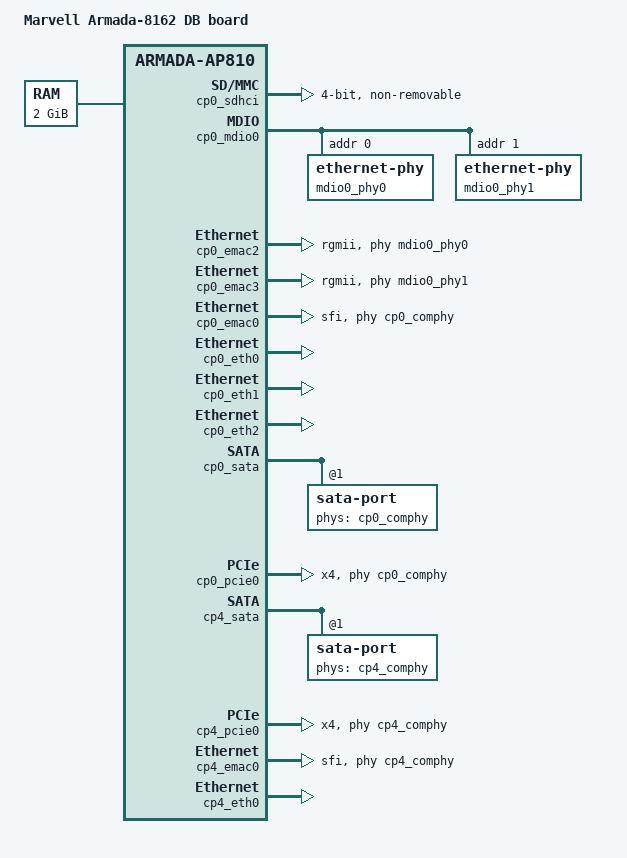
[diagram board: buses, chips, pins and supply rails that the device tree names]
/*
 * Copyright (C) 2017 Marvell Technology Group Ltd.
 *
 * This file is dual-licensed: you can use it either under the terms
 * of the GPLv2 or the X11 license, at your option. Note that this dual
 * licensing only applies to this file, and not this project as a
 * whole.
 *
 *  a) This library is free software; you can redistribute it and/or
 *     modify it under the terms of the GNU General Public License as
 *     published by the Free Software Foundation; either version 2 of the
 *     License, or (at your option) any later version.
 *
 *     This library is distributed in the hope that it will be useful,
 *     but WITHOUT ANY WARRANTY; without even the implied warranty of
 *     MERCHANTABILITY or FITNESS FOR A PARTICULAR PURPOSE.  See the
 *     GNU General Public License for more details.
 *
 * Or, alternatively,
 *
 *  b) Permission is hereby granted, free of charge, to any person
 *     obtaining a copy of this software and associated documentation
 *     files (the "Software"), to deal in the Software without
 *     restriction, including without limitation the rights to use,
 *     copy, modify, merge, publish, distribute, sublicense, and/or
 *     sell copies of the Software, and to permit persons to whom the
 *     Software is furnished to do so, subject to the following
 *     conditions:
 *
 *     The above copyright notice and this permission notice shall be
 *     included in all copies or substantial portions of the Software.
 *
 *     THE SOFTWARE IS PROVIDED "AS IS", WITHOUT WARRANTY OF ANY KIND,
 *     EXPRESS OR IMPLIED, INCLUDING BUT NOT LIMITED TO THE WARRANTIES
 *     OF MERCHANTABILITY, FITNESS FOR A PARTICULAR PURPOSE AND
 *     NONINFRINGEMENT. IN NO EVENT SHALL THE AUTHORS OR COPYRIGHT
 *     HOLDERS BE LIABLE FOR ANY CLAIM, DAMAGES OR OTHER LIABILITY,
 *     WHETHER IN AN ACTION OF CONTRACT, TORT OR OTHERWISE, ARISING
 *     FROM, OUT OF OR IN CONNECTION WITH THE SOFTWARE OR THE USE OR
 *     OTHER DEALINGS IN THE SOFTWARE.
 */

/*
 * Device Tree file for Marvell Armada-8162 Development board platform
 */

#include "armada-8162-db.dtsi"

/ {
	model = "Marvell Armada-8162 DB board";
	compatible = "marvell,armada-8162-db", "marvell,armada-8162",
		     "marvell,armada-ap810-octa", "marvell,armada-ap810";

	chosen {
		stdout-path = "serial0:115200n8";
	};

	reserved-memory {
		#address-cells = <2>;
		#size-cells = <2>;
		ranges;

		/* global autoconfigured region for contiguous allocations */
		ap1_mem: ap1-area@41f0000000 {
			compatible = "shared-dma-pool";
			reusable;
			reg = <0x41 0xf0000000 0 0x10000000>;
		};
	};
	aliases {
		ethernet0 = &cp0_emac0;
		ethernet1 = &cp0_emac2;
		ethernet2 = &cp0_emac3;
		ethernet3 = &cp4_emac0;
	};

	memory@00000000 {
		device_type = "memory";
		reg = <0x0 0x0 0x0 0x80000000>;
	};
};

&ap0_xor0 {
	status = "disabled";
};

&ap1_xor0 {
	status = "disabled";
};

&cp0_sdhci {
	status = "okay";
	bus-width = <4>;
	no-1-8-v;
	non-removable;
};

&cp0_mdio0 {
	status = "okay";
	mdio0_phy0: ethernet-phy@0 {
		reg = <0>;
	};
	mdio0_phy1: ethernet-phy@1 {
		reg = <1>;
	};
};

&cp0_emac2 {
	phy-mode = "rgmii"; /* rgmii-0 */
	phy = <&mdio0_phy0>;
};

&cp0_emac3 {
	phy-mode = "rgmii"; /* rgmii-1 */
	phy = <&mdio0_phy1>;
};

&cp0_emac0 {
	phy-mode = "sfi";

	/* Generic PHY, providing serdes lanes */
	phys = <&cp0_comphy 4 COMPHY_SFI>;
	phy-names = "comphy";
};

&cp0_ppv22 {
	l4_chksum_jumbo_port = <0>;
	pinctrl-names = "default";
};

&cp0_eth0 {
	status = "okay";
};

&cp0_eth1 {
	status = "okay";
};

&cp0_eth2 {
	status = "okay";
};

&cp0_sata {
	status = "okay";
	sata-port@1 {
		reg = <1>;
		status = "okay";

		/* Generic PHY, providing serdes lanes */
		phys = <&cp0_comphy 5 COMPHY_SATA1>;
		phy-names = "comphy";
	};
};

&cp0_pcie0 {
	num-lanes = <4>;
	status = "okay";

	/* Generic PHY, providing serdes lanes */
	phys = <&cp0_comphy 0 COMPHY_PCIE0
		&cp0_comphy 1 COMPHY_PCIE0
		&cp0_comphy 2 COMPHY_PCIE0
		&cp0_comphy 3 COMPHY_PCIE0
		>;
	phy-names = "pcie-phy0", "pcie-phy1", "pcie-phy2", "pcie-phy3";
};

&cp4_sata {
	status = "okay";
	sata-port@1 {
		reg = <1>;
		status = "okay";

		/* Generic PHY, providing serdes lanes */
		phys = <&cp4_comphy 5 COMPHY_SATA1>;
		phy-names = "comphy";
	};
};

&cp4_pcie0 {
	num-lanes = <4>;
	status = "okay";

	/* Generic PHY, providing serdes lanes */
	phys = <&cp4_comphy 0 COMPHY_PCIE0
		&cp4_comphy 1 COMPHY_PCIE0
		&cp4_comphy 2 COMPHY_PCIE0
		&cp4_comphy 3 COMPHY_PCIE0
		>;
	phy-names = "pcie-phy0", "pcie-phy1", "pcie-phy2", "pcie-phy3";
};

&cp4_emac0 {
	phy-mode = "sfi"; /* lane-2 */

	/* Generic PHY, providing serdes lanes */
	phys = <&cp4_comphy 4 COMPHY_SFI>;
	phy-names = "comphy";
};

&cp4_ppv22 {
	l4_chksum_jumbo_port = <0>;
	pinctrl-names = "default";
	memory-region = <&ap1_mem>;
};

&cp4_eth0 {
	status = "okay";
};
